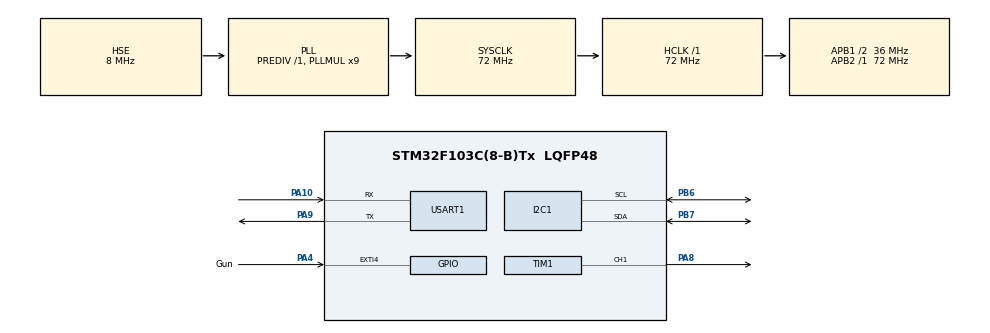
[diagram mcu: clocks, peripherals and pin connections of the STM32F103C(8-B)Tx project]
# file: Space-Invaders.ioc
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Mcu.Family=STM32F1
Mcu.Name=STM32F103C(8-B)Tx
Mcu.Package=LQFP48
NVIC.EXTI4_IRQn=true\:0\:0\:false\:false\:true\:true\:true\:true
NVIC.PriorityGroup=NVIC_PRIORITYGROUP_4
NVIC.TIM1_CC_IRQn=true\:0\:0\:false\:false\:true\:true\:true\:true
NVIC.TIM1_UP_IRQn=true\:0\:0\:false\:false\:true\:true\:true\:true
PA10.Mode=Asynchronous
PA10.Signal=USART1_RX
PA4.GPIO_Label=Gun
PA4.GPIO_PuPd=GPIO_PULLDOWN
PA4.Signal=GPXTI4
PA8.Signal=S_TIM1_CH1
PA9.Mode=Asynchronous
PA9.Signal=USART1_TX
PB6.Mode=I2C
PB6.Signal=I2C1_SCL
PB7.Mode=I2C
PB7.Signal=I2C1_SDA
PD0-OSC_IN.Mode=HSE-External-Oscillator
PD0-OSC_IN.Signal=RCC_OSC_IN
PD1-OSC_OUT.Mode=HSE-External-Oscillator
PD1-OSC_OUT.Signal=RCC_OSC_OUT
ProjectManager.HeapSize=0x200
ProjectManager.StackSize=0x400
ProjectManager.TargetToolchain=STM32CubeIDE
RCC.AHBFreq_Value=72000000
RCC.APB1CLKDivider=RCC_HCLK_DIV2
RCC.APB1Freq_Value=36000000
RCC.APB1TimFreq_Value=72000000
RCC.APB2Freq_Value=72000000
RCC.APB2TimFreq_Value=72000000
RCC.HCLKFreq_Value=72000000
RCC.PLLMUL=RCC_PLL_MUL9
RCC.PLLSourceVirtual=RCC_PLLSOURCE_HSE
RCC.SYSCLKFreq_VALUE=72000000
RCC.SYSCLKSource=RCC_SYSCLKSOURCE_PLLCLK
RCC.USBFreq_Value=72000000
SH.S_TIM1_CH1.0=TIM1_CH1,PWM Generation1 CH1
TIM1.Channel-Output\ Compare2\ No\ Output=TIM_CHANNEL_2
TIM1.Channel-Output\ Compare3\ No\ Output=TIM_CHANNEL_3
TIM1.Channel-PWM\ Generation1\ CH1=TIM_CHANNEL_1
TIM1.Period=23999
TIM1.Prescaler=999
TIM1.Pulse-Output\ Compare2\ No\ Output=12999
TIM1.Pulse-Output\ Compare3\ No\ Output=5000
USART1.VirtualMode=VM_ASYNC
VP_SYS_VS_ND.Mode=No_Debug
VP_TIM1_VS_ClockSourceINT.Mode=Internal
VP_TIM1_VS_no_output2.Mode=Output Compare2 No Output
VP_TIM1_VS_no_output3.Mode=Output Compare3 No Output
board=custom

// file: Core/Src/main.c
/* USER CODE BEGIN Header */
/**
  ******************************************************************************
  * @file           : main.c
  * @brief          : Main program body
  ******************************************************************************
  * @attention
  *
  * Copyright (c) 2026 STMicroelectronics.
  * All rights reserved.
  *
  * This software is licensed under terms that can be found in the LICENSE file
  * in the root directory of this software component.
  * If no LICENSE file comes with this software, it is provided AS-IS.
  *
  ******************************************************************************
  */
/* USER CODE END Header */
#include "main.h"
#include "MPU_6050.h"
#include "Renderer.h"
#include "ssd1306.h"
#include "ssd1306_fonts.h"

I2C_HandleTypeDef hi2c1;

TIM_HandleTypeDef htim1;

UART_HandleTypeDef huart1;

/* USER CODE BEGIN PV */

uint8_t state = 0;
uint8_t values[14];
volatile uint8_t read_sensor_flag = 0;
SSD1306_COLOR color = Black;
/* USER CODE END PV */

void SystemClock_Config(void);
static void MX_GPIO_Init(void);
static void MX_TIM1_Init(void);
static void MX_I2C1_Init(void);
static void MX_USART1_UART_Init(void);
/* USER CODE BEGIN PFP */

void Tone(uint32_t frequency, uint32_t duration) {
	if (frequency == 0) {
		TIM1->CCR1 = 0;
	} else {
		TIM1->ARR = (1000000UL / frequency) - 1;
		TIM1->CCR1 = TIM1->ARR / 2;
	}
	HAL_Delay(duration);
}

void noTone() {
	TIM1->CCR1 = 0;
}

// Retro Laser: Quick pitch drop
void playLaser(void) {
	for (int f = 1200; f > 300; f -= 100) {
		Tone(f, 15);
	}
	noTone();
}

// Alien March: Low ominous steps getting slightly faster
void playInvaderStep(int freq) {
	Tone(freq, 80);
	noTone();
	HAL_Delay(40);
}
/* USER CODE END PFP */

int main(void)
{

  /* MCU Configuration--------------------------------------------------------*/

  /* Reset of all peripherals, Initializes the Flash interface and the Systick. */
  HAL_Init();

  /* Configure the system clock */
  SystemClock_Config();

  /* Initialize all configured peripherals */
  MX_GPIO_Init();
  MX_TIM1_Init();
  MX_I2C1_Init();
  MX_USART1_UART_Init();
  /* USER CODE BEGIN 2 */

	HAL_TIM_OC_Start_IT(&htim1, TIM_CHANNEL_2);
	HAL_TIM_OC_Start_IT(&htim1, TIM_CHANNEL_3);
	HAL_TIM_PWM_Start(&htim1, TIM_CHANNEL_1);
	__HAL_TIM_MOE_ENABLE(&htim1); // <-- Add this line!
	Default_Render();
  /* USER CODE END 2 */

  /* Infinite loop */
  /* USER CODE BEGIN WHILE */
  while (1)
  {
		Renderer_Frame();
    /* USER CODE END WHILE */

  }
}

void SystemClock_Config(void)
{
  RCC_OscInitTypeDef RCC_OscInitStruct = {0};
  RCC_ClkInitTypeDef RCC_ClkInitStruct = {0};

  /** Initializes the RCC Oscillators according to the specified parameters
  * in the RCC_OscInitTypeDef structure.
  */
  RCC_OscInitStruct.OscillatorType = RCC_OSCILLATORTYPE_HSE;
  RCC_OscInitStruct.HSEState = RCC_HSE_ON;
  RCC_OscInitStruct.HSEPredivValue = RCC_HSE_PREDIV_DIV1;
  RCC_OscInitStruct.HSIState = RCC_HSI_ON;
  RCC_OscInitStruct.PLL.PLLState = RCC_PLL_ON;
  RCC_OscInitStruct.PLL.PLLSource = RCC_PLLSOURCE_HSE;
  RCC_OscInitStruct.PLL.PLLMUL = RCC_PLL_MUL9;
  if (HAL_RCC_OscConfig(&RCC_OscInitStruct) != HAL_OK)
  {
    Error_Handler();
  }

  /** Initializes the CPU, AHB and APB buses clocks
  */
  RCC_ClkInitStruct.ClockType = RCC_CLOCKTYPE_HCLK|RCC_CLOCKTYPE_SYSCLK
                              |RCC_CLOCKTYPE_PCLK1|RCC_CLOCKTYPE_PCLK2;
  RCC_ClkInitStruct.SYSCLKSource = RCC_SYSCLKSOURCE_PLLCLK;
  RCC_ClkInitStruct.AHBCLKDivider = RCC_SYSCLK_DIV1;
  RCC_ClkInitStruct.APB1CLKDivider = RCC_HCLK_DIV2;
  RCC_ClkInitStruct.APB2CLKDivider = RCC_HCLK_DIV1;

  if (HAL_RCC_ClockConfig(&RCC_ClkInitStruct, FLASH_LATENCY_2) != HAL_OK)
  {
    Error_Handler();
  }
}

static void MX_I2C1_Init(void)
{

  hi2c1.Instance = I2C1;
  hi2c1.Init.ClockSpeed = 100000;
  hi2c1.Init.DutyCycle = I2C_DUTYCYCLE_2;
  hi2c1.Init.OwnAddress1 = 0;
  hi2c1.Init.AddressingMode = I2C_ADDRESSINGMODE_7BIT;
  hi2c1.Init.DualAddressMode = I2C_DUALADDRESS_DISABLE;
  hi2c1.Init.OwnAddress2 = 0;
  hi2c1.Init.GeneralCallMode = I2C_GENERALCALL_DISABLE;
  hi2c1.Init.NoStretchMode = I2C_NOSTRETCH_DISABLE;
  if (HAL_I2C_Init(&hi2c1) != HAL_OK)
  {
    Error_Handler();
  }

}

static void MX_TIM1_Init(void)
{

  TIM_ClockConfigTypeDef sClockSourceConfig = {0};
  TIM_MasterConfigTypeDef sMasterConfig = {0};
  TIM_OC_InitTypeDef sConfigOC = {0};
  TIM_BreakDeadTimeConfigTypeDef sBreakDeadTimeConfig = {0};

  htim1.Instance = TIM1;
  htim1.Init.Prescaler = 999;
  htim1.Init.CounterMode = TIM_COUNTERMODE_UP;
  htim1.Init.Period = 23999;
  htim1.Init.ClockDivision = TIM_CLOCKDIVISION_DIV1;
  htim1.Init.RepetitionCounter = 0;
  htim1.Init.AutoReloadPreload = TIM_AUTORELOAD_PRELOAD_DISABLE;
  if (HAL_TIM_Base_Init(&htim1) != HAL_OK)
  {
    Error_Handler();
  }
  sClockSourceConfig.ClockSource = TIM_CLOCKSOURCE_INTERNAL;
  if (HAL_TIM_ConfigClockSource(&htim1, &sClockSourceConfig) != HAL_OK)
  {
    Error_Handler();
  }
  if (HAL_TIM_PWM_Init(&htim1) != HAL_OK)
  {
    Error_Handler();
  }
  if (HAL_TIM_OC_Init(&htim1) != HAL_OK)
  {
    Error_Handler();
  }
  sMasterConfig.MasterOutputTrigger = TIM_TRGO_RESET;
  sMasterConfig.MasterSlaveMode = TIM_MASTERSLAVEMODE_DISABLE;
  if (HAL_TIMEx_MasterConfigSynchronization(&htim1, &sMasterConfig) != HAL_OK)
  {
    Error_Handler();
  }
  sConfigOC.OCMode = TIM_OCMODE_PWM1;
  sConfigOC.Pulse = 0;
  sConfigOC.OCPolarity = TIM_OCPOLARITY_HIGH;
  sConfigOC.OCNPolarity = TIM_OCNPOLARITY_HIGH;
  sConfigOC.OCFastMode = TIM_OCFAST_DISABLE;
  sConfigOC.OCIdleState = TIM_OCIDLESTATE_RESET;
  sConfigOC.OCNIdleState = TIM_OCNIDLESTATE_RESET;
  if (HAL_TIM_PWM_ConfigChannel(&htim1, &sConfigOC, TIM_CHANNEL_1) != HAL_OK)
  {
    Error_Handler();
  }
  sConfigOC.OCMode = TIM_OCMODE_TIMING;
  sConfigOC.Pulse = 12999;
  if (HAL_TIM_OC_ConfigChannel(&htim1, &sConfigOC, TIM_CHANNEL_2) != HAL_OK)
  {
    Error_Handler();
  }
  sConfigOC.Pulse = 5000;
  if (HAL_TIM_OC_ConfigChannel(&htim1, &sConfigOC, TIM_CHANNEL_3) != HAL_OK)
  {
    Error_Handler();
  }
  sBreakDeadTimeConfig.OffStateRunMode = TIM_OSSR_DISABLE;
  sBreakDeadTimeConfig.OffStateIDLEMode = TIM_OSSI_DISABLE;
  sBreakDeadTimeConfig.LockLevel = TIM_LOCKLEVEL_OFF;
  sBreakDeadTimeConfig.DeadTime = 0;
  sBreakDeadTimeConfig.BreakState = TIM_BREAK_DISABLE;
  sBreakDeadTimeConfig.BreakPolarity = TIM_BREAKPOLARITY_HIGH;
  sBreakDeadTimeConfig.AutomaticOutput = TIM_AUTOMATICOUTPUT_DISABLE;
  if (HAL_TIMEx_ConfigBreakDeadTime(&htim1, &sBreakDeadTimeConfig) != HAL_OK)
  {
    Error_Handler();
  }
  HAL_TIM_MspPostInit(&htim1);

}

static void MX_USART1_UART_Init(void)
{

  huart1.Instance = USART1;
  huart1.Init.BaudRate = 115200;
  huart1.Init.WordLength = UART_WORDLENGTH_8B;
  huart1.Init.StopBits = UART_STOPBITS_1;
  huart1.Init.Parity = UART_PARITY_NONE;
  huart1.Init.Mode = UART_MODE_TX_RX;
  huart1.Init.HwFlowCtl = UART_HWCONTROL_NONE;
  huart1.Init.OverSampling = UART_OVERSAMPLING_16;
  if (HAL_UART_Init(&huart1) != HAL_OK)
  {
    Error_Handler();
  }

}

static void MX_GPIO_Init(void)
{
  GPIO_InitTypeDef GPIO_InitStruct = {0};

  /* GPIO Ports Clock Enable */
  __HAL_RCC_GPIOD_CLK_ENABLE();
  __HAL_RCC_GPIOA_CLK_ENABLE();
  __HAL_RCC_GPIOB_CLK_ENABLE();

  /*Configure GPIO pin : Gun_Pin */
  GPIO_InitStruct.Pin = Gun_Pin;
  GPIO_InitStruct.Mode = GPIO_MODE_IT_RISING;
  GPIO_InitStruct.Pull = GPIO_PULLDOWN;
  HAL_GPIO_Init(Gun_GPIO_Port, &GPIO_InitStruct);

  /* EXTI interrupt init*/
  HAL_NVIC_SetPriority(EXTI4_IRQn, 0, 0);
  HAL_NVIC_EnableIRQ(EXTI4_IRQn);

}

/* USER CODE BEGIN 4 */

int __io_putchar(int ch) {
	HAL_UART_Transmit(&huart1, (uint8_t*) &ch, 1, HAL_MAX_DELAY);
	return ch;
}

void HAL_TIM_OC_DelayElapsedCallback(TIM_HandleTypeDef *htim) {
	if (htim->Instance == TIM1) {
		if (htim->Channel == HAL_TIM_ACTIVE_CHANNEL_2) {
			position_value += 1;
		}
		if (htim->Channel == HAL_TIM_ACTIVE_CHANNEL_3) {
			for (int var = 0; var < 4; ++var) {
				if (Bullets[var].status == 1) {
					Bullets[var].y -= 4;
				}
			}
		}
	}
}
void HAL_GPIO_EXTI_Callback(uint16_t GPIO_Pin) {
		if (GPIO_Pin == Gun_Pin) {
			for (int i = 0; i < 4; i++) {
				if (Bullets[i].status == 0) {
					Bullets[i].status = 1;
					Bullets[i].x = point->x + 7;
					Bullets[i].y = 40;
					break;
				}
			}
		}
	}
/* USER CODE END 4 */

void Error_Handler(void)
{
  __disable_irq();
  while (1)
  {
  }
}
